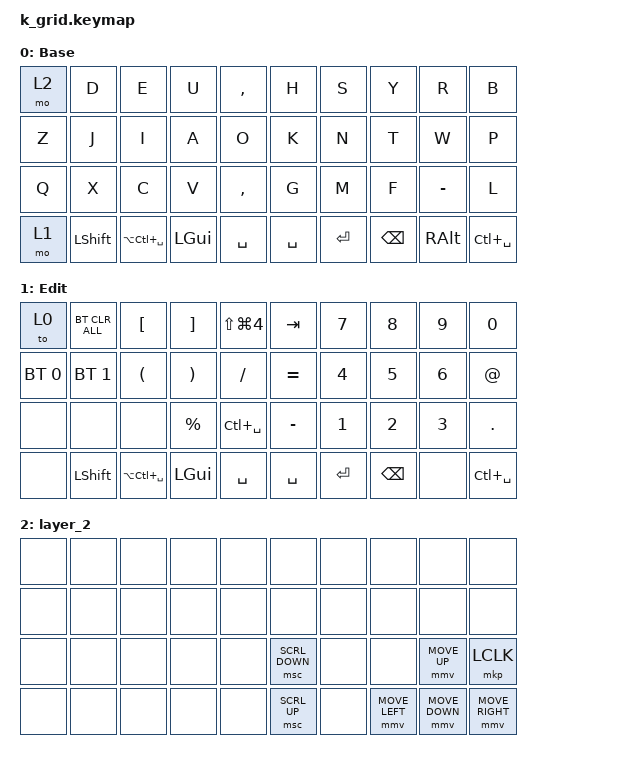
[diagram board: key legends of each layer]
#include <behaviors.dtsi>
#include <dt-bindings/zmk/bt.h>
#include <dt-bindings/zmk/keys.h>
#include <dt-bindings/zmk/pointing.h>

/ {
    keymap {
        compatible = "zmk,keymap";

        default_layer {
            display-name = "Base";
            bindings = <
&mo 2  &kp D      &kp E              &kp U     &kp COMMA  &kp H      &kp S      &kp Y          &kp R          &kp B
&kp Z  &kp J      &kp I              &kp A     &kp O      &kp K      &kp N      &kp T          &kp W          &kp P
&kp Q  &kp X      &kp C              &kp V     &kp COMMA  &kp G      &kp M      &kp F          &kp MINUS      &kp L
&mo 1  &kp LSHFT  &kp LA(LC(SPACE))  &kp LGUI  &kp SPACE  &kp SPACE  &kp ENTER  &kp BACKSPACE  &kp RIGHT_ALT  &kp LC(SPACE)
            >;
        };

        layer_1 {
            display-name = "Edit";
            bindings = <
&to 0         &bt BT_CLR_ALL  &kp LBKT           &kp RBKT      &kp LS(LG(N4))  &kp TAB    &kp N7   &kp N8         &kp N9        &kp N0
&bt BT_SEL 0  &bt BT_SEL 1    &kp LPAR           &kp RPAR      &kp SLASH       &kp EQUAL  &kp N4   &kp N5         &kp N6        &kp AT
&none         &none           &none              &kp PERCENT   &kp LC(SPACE)   &kp MINUS  &kp N1   &kp N2         &kp NUMBER_3  &kp PERIOD
&none         &kp LSHFT       &kp LA(LC(SPACE))  &kp LEFT_GUI  &kp SPACE       &kp SPACE  &kp RET  &kp BACKSPACE  &none         &kp LC(SPACE)
            >;
        };

        layer_2 {
            bindings = <
&none  &none  &none  &none  &none  &none           &none  &none           &none           &none
&none  &none  &none  &none  &none  &none           &none  &none           &none           &none
&none  &none  &none  &none  &none  &msc SCRL_DOWN  &none  &none           &mmv MOVE_UP    &mkp LCLK
&none  &none  &none  &none  &none  &msc SCRL_UP    &none  &mmv MOVE_LEFT  &mmv MOVE_DOWN  &mmv MOVE_RIGHT
            >;
        };
    };
};
